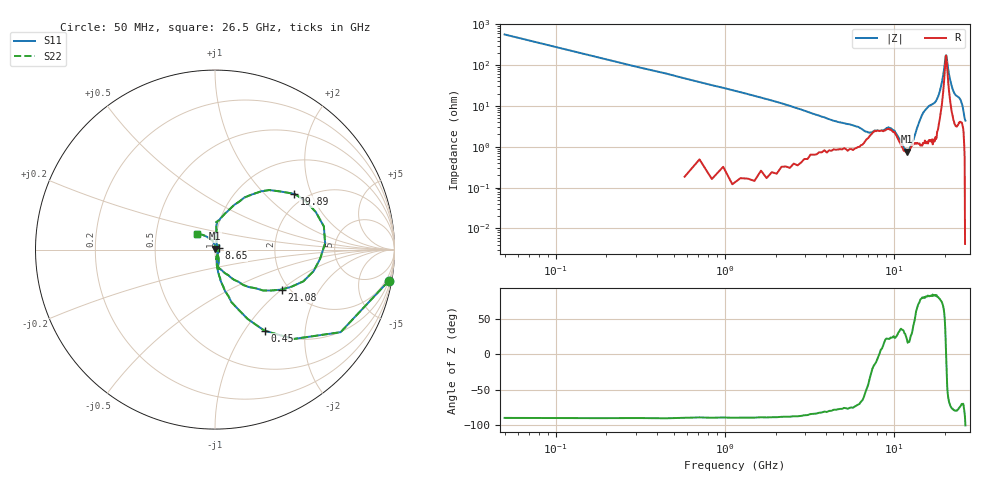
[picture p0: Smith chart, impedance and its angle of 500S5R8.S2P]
!  American Technical Ceramics  Date:  3/6/98
!  One Norden Lane
!  Huntington Station,  NY.  11746-2102
!  Tel:  (516) 547-5700  Fax:  (516) 547-5748
!  Part Number  500S5R8
!  Description: Broadband Microwave capacitor
!  Application:
# GHZ S DB R 50
! Freq  |S11|  S11 Ph  |S21|  S21 Ph  |S12|  S12 Ph  |S22|  S22 Ph
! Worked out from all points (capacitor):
!   201 points, 50 MHz to 26.5 GHz, reference 50 ohm
!   read as one part in series: C = 5.76 pF near 180 MHz
!   lowest |Z| = 761 mohm at 11.95 GHz (marker M1)
!   series resonance near 8.207 GHz, so ESL is about 65 pH
!   S11 on the Smith chart (normalised r, x): 50 MHz: 1, -11; 450 MHz: 0.99, -1.24; 8.65 GHz: 1.04, +0.02; 19.89 GHz: 1.74, +1.53; 21.08 GHz: 1.83, -1.00; 26.5 GHz: 0.81, +0.14
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0.05  -0.15 -10.3  -15.16 79.7  -15.16 79.7  -0.15 -10.3
0.18  -1.54 -33.3  -5.26 57.0  -5.26 57.0  -1.54 -33.3
0.45  -5.51 -58.6  -1.41 32.0  -1.41 32.0  -5.51 -58.6
1.9  -17.35 -81.3  -0.10 7.7  -0.10 7.7  -17.35 -81.3
4.55  -25.56 -79.8  -0.09 1.7  -0.09 1.7  -25.56 -79.8
8.65  -32.72 25.3  -0.23 0.0  -0.23 0.0  -32.72 25.3
8.91  -31.23 36.5  -0.24 -0.1  -0.24 -0.1  -31.23 36.5
11.03  -33.88 82.3  -0.17 0.2  -0.17 0.2  -33.88 82.3
11.95  -45.38 110.3  -0.14 -0.0  -0.14 -0.0  -45.38 110.3
12.35  -53.15 63.5  -0.13 -0.2  -0.13 -0.2  -53.15 63.5
13.28  -34.44 62.5  -0.14 -0.6  -0.14 -0.6  -34.44 62.5
14.99  -19.92 85.7  -0.22 -2.0  -0.22 -2.0  -19.92 85.7
17.77  -16.04 84.8  -0.39 -5.5  -0.39 -5.5  -16.04 84.8
19.89  -5.34 35.0  -4.63 -23.7  -4.63 -23.7  -5.34 35.0
20.42  -4.23 3.3  -8.94 10.9  -8.94 10.9  -4.23 3.3
21.08  -7.25 -30.8  -3.16 31.4  -3.16 31.4  -7.25 -30.8
22.14  -14.84 -60.2  -0.97 19.6  -0.97 19.6  -14.84 -60.2
24.52  -23.37 -72.6  -0.66 12.8  -0.66 12.8  -23.37 -72.6
24.91  -28.67 -64.7  -0.64 12.7  -0.64 12.7  -28.67 -64.7
25.18  -39.63 -6.4  -0.61 12.6  -0.61 12.6  -39.63 -6.4
25.71  -25.77 105.3  -0.54 12.0  -0.54 12.0  -25.77 105.3
26.5  -17.60 139.8  -0.65 10.7  -0.65 10.7  -17.60 139.8
